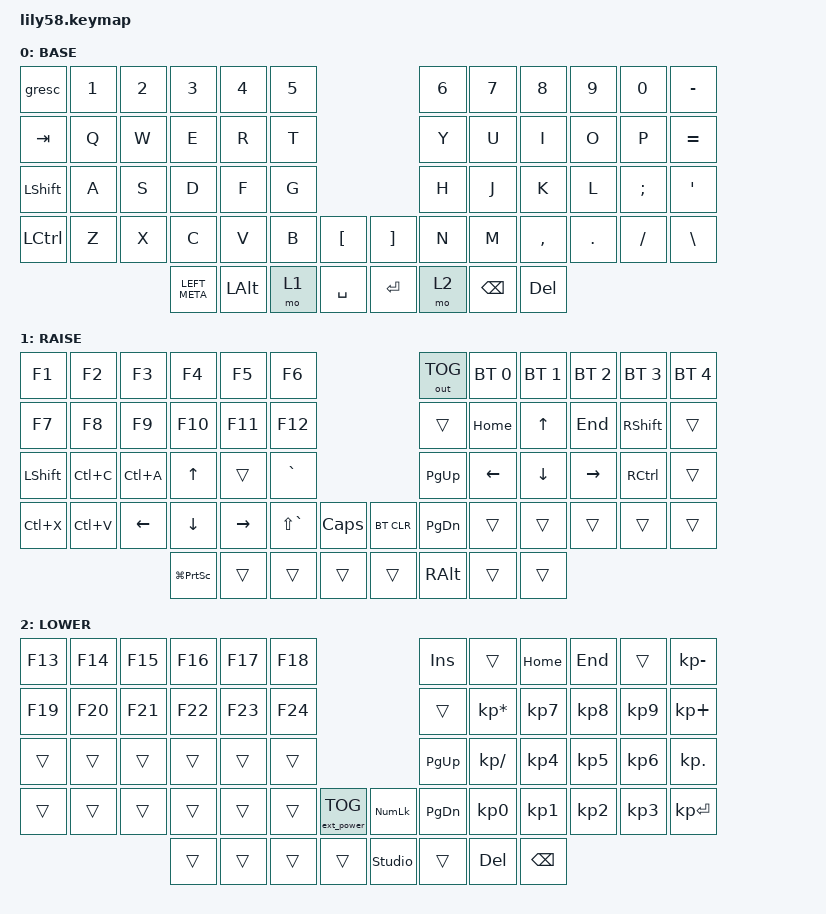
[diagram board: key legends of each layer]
/*
 * Copyright (c) 2020 The ZMK Contributors
 *
 * SPDX-License-Identifier: MIT
 */

#include <behaviors.dtsi>
#include <dt-bindings/zmk/bt.h>
#include <dt-bindings/zmk/ext_power.h>
#include <dt-bindings/zmk/keys.h>
#include <dt-bindings/zmk/outputs.h>

/ {
    keymap {
		compatible = "zmk,keymap";

		default_mode {
			display-name = "BASE";
            bindings = <
&gresc     &kp N1  &kp N2  &kp N3         &kp N4        &kp N5                          &kp N6   &kp N7    &kp N8     &kp N9   &kp N0    &kp MINUS
&kp TAB    &kp Q   &kp W   &kp E          &kp R         &kp T                           &kp Y    &kp U     &kp I      &kp O    &kp P     &kp EQUAL
&kp LSHFT  &kp A   &kp S   &kp D          &kp F         &kp G                           &kp H    &kp J     &kp K      &kp L    &kp SEMI  &kp SQT
&kp LCTRL  &kp Z   &kp X   &kp C          &kp V         &kp B   &kp LBKT     &kp RBKT   &kp N    &kp M     &kp COMMA  &kp DOT  &kp FSLH  &kp BACKSLASH
                           &kp LEFT_META  &kp LEFT_ALT  &mo 1   &kp SPACE    &kp ENTER  &mo 2    &kp BSPC  &kp DEL
            >;
        };

        raise_layer {
			display-name = "RAISE";
            bindings = <
&kp F1      &kp F2     &kp F3     &kp F4                   &kp F5     &kp F6                                       &out OUT_TOG  &bt BT_SEL 0  &bt BT_SEL 1  &bt BT_SEL 2  &bt BT_SEL 3  &bt BT_SEL 4
&kp F7      &kp F8     &kp F9     &kp F10                  &kp F11    &kp F12                                      &trans        &kp HOME      &kp UP        &kp END       &kp RSHFT     &trans
&kp LSHIFT  &kp LC(C)  &kp LC(A)  &kp UP                   &trans     &kp GRAVE                                    &kp PG_UP     &kp LEFT      &kp DOWN      &kp RIGHT     &kp RCTRL     &trans
&kp LC(X)   &kp LC(V)  &kp LEFT   &kp DOWN                 &kp RIGHT  &kp LS(GRAVE)  &kp CAPS         &bt BT_CLR   &kp PG_DN     &trans        &trans        &trans        &trans        &trans
                                  &kp LG(PRINTSCREEN)      &trans     &trans         &trans           &trans       &kp RALT      &trans        &trans 
            >;
        };

        lower_layer {
			display-name = "LOWER";
            bindings = <
&kp F13  &kp F14  &kp F15  &kp F16  &kp F17  &kp F18                                         &kp INS    &trans           &kp HOME         &kp END          &trans           &kp KP_SUBTRACT
&kp F19  &kp F20  &kp F21  &kp F22  &kp F23  &kp F24                                         &trans     &kp KP_MULTIPLY  &kp KP_NUMBER_7  &kp KP_NUMBER_8  &kp KP_NUMBER_9  &kp KP_PLUS
&trans   &trans   &trans   &trans   &trans   &trans                                          &kp PG_UP  &kp KP_DIVIDE    &kp KP_NUMBER_4  &kp KP_NUMBER_5  &kp KP_NUMBER_6  &kp KP_DOT
&trans   &trans   &trans   &trans   &trans   &trans   &ext_power EP_TOG      &kp KP_NUMLOCK  &kp PG_DN  &kp KP_NUMBER_0  &kp KP_NUMBER_1  &kp KP_NUMBER_2  &kp KP_NUMBER_3  &kp KP_ENTER
                           &trans   &trans   &trans   &trans                 &studio_unlock  &trans     &kp DEL          &kp BSPC
            >;
        };

		extra1 {
            status = "reserved";
        };

        extra2 {
            status = "reserved";
        };

		extra3 {
            status = "reserved";
        };
    };
};
